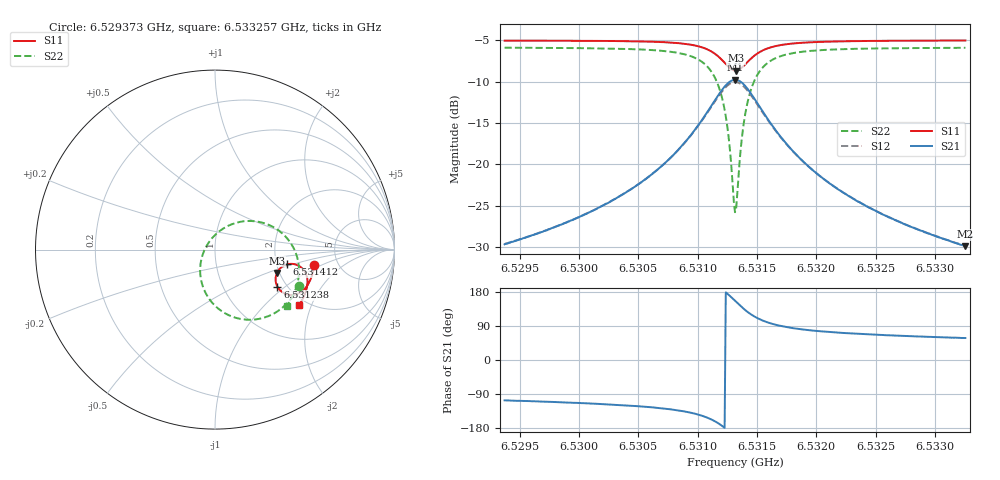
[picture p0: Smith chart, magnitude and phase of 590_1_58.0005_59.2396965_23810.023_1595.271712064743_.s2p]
#  HZ  S  RI  R  50.00
! Rohde & Schwarz Vector Network Analyzer
! Rohde-Schwarz,ZNB20-2Port,1311601062101988,3.16
! Created: UTC 3/21/2024, 1:16:46 AM
! freq[Hz]  re:S11  im:S11  re:S21  im:S21  re:S12  im:S12  re:S22  im:S22
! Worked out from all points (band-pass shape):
!   401 points, 6.529373 GHz to 6.533257 GHz, reference 50 ohm
!   highest |S21| = -9.76 dB at 6.531315 GHz (marker M1); lowest = -29.9 dB at 6.533257 GHz (marker M2)
!   |S21| within 3 dB of the highest: 6.531123 GHz to 6.531511 GHz (387.9 kHz wide, 0.00594 % of centre)
!   lowest |S11| = -8.7 dB at 6.531325 GHz (marker M3), VSWR 2.17, Z = 96.9 - j29.2 ohm
!   |S11| at or under -10 dB: nowhere
!   |S22| runs from -25.8 to -5.9 dB; largest |S21 - S12| = 0.013
!   S11 on the Smith chart (normalised r, x): 6.529373 GHz: 3.33, -0.83; 6.531238 GHz: 1.79, -0.89; 6.531412 GHz: 2.28, -0.45; 6.533257 GHz: 1.82, -1.64
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6.529373e9  0.5543 -0.085  -0.00928 -0.0314  -0.01 -0.0313  0.4664 -0.2016
6.5300236e9  0.5418 -0.1397  -0.0198 -0.0446  -0.0208 -0.0442  0.4319 -0.2618
6.5303927e9  0.5287 -0.1746  -0.0334 -0.0584  -0.0349 -0.0576  0.3956 -0.3051
6.5306743e9  0.5108 -0.2058  -0.0564 -0.0757  -0.0586 -0.0742  0.3436 -0.3468
6.5309073e9  0.4798 -0.236  -0.102 -0.0956  -0.1046 -0.0918  0.2523 -0.3844
6.5310724e9  0.4315 -0.2525  -0.1772 -0.098  -0.179 -0.0904  0.1156 -0.38
6.5311695e9  0.383 -0.242  -0.2513 -0.0623  -0.2491 -0.0519  -0.00611 -0.3063
6.5312375e9  0.3482 -0.2072  -0.3007 0.00772  -0.2927 0.0176  -0.0753 -0.1799
6.5312667e9  0.3393 -0.1837  -0.3104 0.0512  -0.2999 0.0592  -0.0829 -0.1065
6.5313055e9  0.3393 -0.1479  -0.3032 0.1151  -0.291 0.1192  -0.0593 -0.00392
6.5313152e9  0.3417 -0.139  -0.2976 0.1305  -0.2853 0.1336  -0.047 0.0205
6.5313249e9  0.345 -0.1304  -0.2903 0.1453  -0.2781 0.1474  -0.0324 0.0433
6.5313346e9  0.3493 -0.1221  -0.2815 0.1595  -0.2696 0.1603  -0.0157 0.0647
6.5313735e9  0.3731 -0.0958  -0.2361 0.204  -0.2262 0.2016  0.0662 0.129
6.5314123e9  0.4022 -0.0821  -0.1834 0.2268  -0.1762 0.2229  0.1566 0.1573
6.5314803e9  0.4482 -0.0828  -0.1033 0.2261  -0.1 0.2226  0.2902 0.1416
6.5315774e9  0.4878 -0.1068  -0.0358 0.1906  -0.0343 0.1888  0.3984 0.0665
6.5317231e9  0.5102 -0.1446  0.00374 0.1401  0.00489 0.1391  0.4558 -0.0353
6.5319659e9  0.515 -0.1891  0.0195 0.0908  0.0207 0.0903  0.4674 -0.1368
6.5322572e9  0.5084 -0.2251  0.0215 0.0618  0.0225 0.0615  0.4553 -0.2033
6.5326165e9  0.4962 -0.2589  0.02 0.0432  0.0208 0.043  0.4356 -0.2537
6.5332574e9  0.4706 -0.3075  0.0169 0.0271  0.0175 0.0268  0.4003 -0.3119
